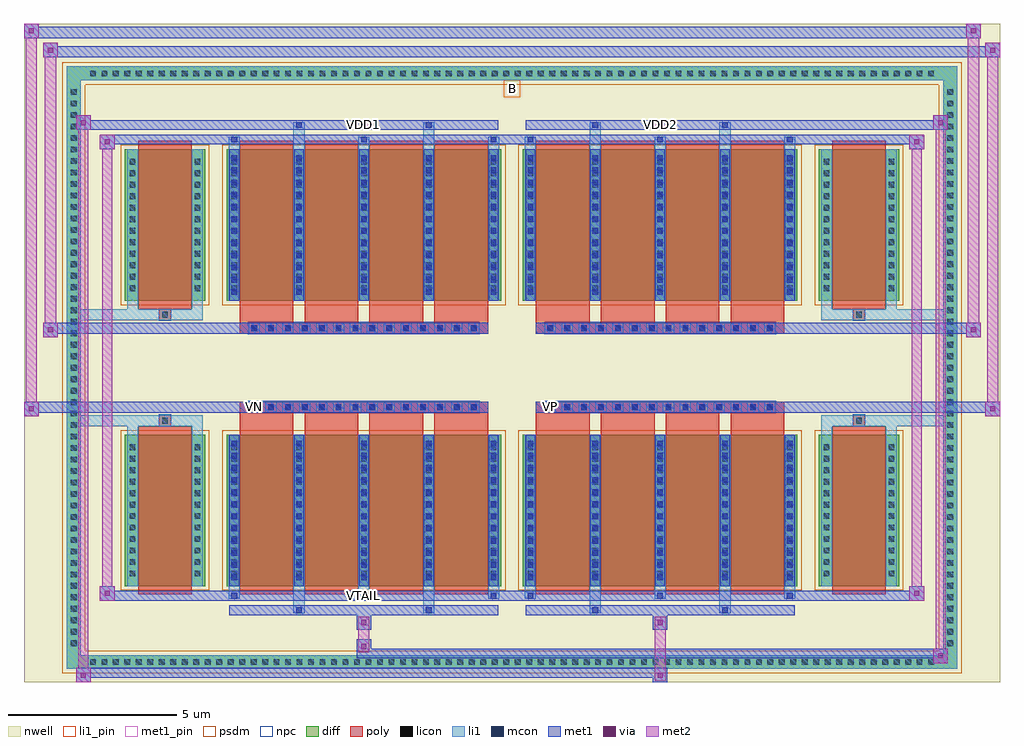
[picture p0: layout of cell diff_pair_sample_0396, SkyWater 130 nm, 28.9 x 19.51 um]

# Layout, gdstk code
import gdstk
lib = gdstk.Library(unit=1e-6, precision=5e-09)
def R(c, l, rs):  # rectangles x0, y0, x1, y1
    for r in rs: c.add(gdstk.rectangle(r[:2], r[2:], *l))
def A(c, l, x, y, w, h, nx, ny, dx, dy):  # array of equal rectangles
    R(c, l, [(x+i*dx, y+j*dy, x+i*dx+w, y+j*dy+h) for i in range(nx) for j in range(ny)])
def P(c, l, *ps):  # polygons
    for p in ps: c.add(gdstk.Polygon(p, *l))
nwell = (64, 20)
diff = (65, 20)
poly = (66, 20)
licon = (66, 44)
li1_pin = (67, 16)
li1 = (67, 20)
mcon = (67, 44)
met1_pin = (68, 16)
met1 = (68, 20)
via = (68, 44)
met2 = (69, 20)
psdm = (94, 20)
npc = (95, 20)

diff_pair_sample_0396 = lib.new_cell('diff_pair_sample_0396')
R(diff_pair_sample_0396, nwell, [(-14.45,-9.32,14.45,10.19), (-11.77,-7.51,-0.01,-0.805), (0.01,-7.51,11.77,-0.805), (-11.77,0.805,-0.01,7.51), (0.01,0.805,11.77,7.51)])
A(diff_pair_sample_0396, diff, -12.615, -8.92, 0.41, 0.41, 74, 2, 0.34, 17.43)
A(diff_pair_sample_0396, diff, -13.18, -8.365, 0.41, 0.41, 1, 49, 0, 0.34)
A(diff_pair_sample_0396, diff, 12.77, -8.365, 0.41, 0.41, 1, 49, 0, 0.34)
R(diff_pair_sample_0396, diff, [(-12.615,-8.92,12.615,-8.51), (-13.18,-8.365,-12.77,8.365), (12.77,-8.365,13.18,8.365), (-11.46,-6.465,-9.09,-1.985), (-8.45,-6.465,-0.32,-1.985), (0.32,-6.465,8.45,-1.985), (9.09,-6.465,11.46,-1.985), (-11.46,1.985,-9.09,6.465), (-8.45,1.985,-0.32,6.465), (0.32,1.985,8.45,6.465), (9.09,1.985,11.46,6.465), (-12.615,8.51,12.615,8.92)])
P(diff_pair_sample_0396, diff, [(13.18,8.92),(-13.18,8.92),(-13.18,-8.51),(-12.77,-8.51),(-12.77,8.51),(12.77,8.51),(12.77,-8.51),(-12.77,-8.51),(-13.18,-8.51),(-13.18,-8.92),(13.18,-8.92)])
A(diff_pair_sample_0396, poly, -8.06, -6.715, 1.59, 4.98, 4, 2, 1.92, 8.45)
A(diff_pair_sample_0396, poly, 0.71, -6.715, 1.59, 4.98, 4, 2, 1.92, 8.45)
A(diff_pair_sample_0396, poly, -8.06, -1.735, 1.59, 0.4, 4, 2, 1.92, 3.07)
A(diff_pair_sample_0396, poly, 0.71, -1.735, 1.59, 0.4, 4, 2, 1.92, 3.07)
A(diff_pair_sample_0396, poly, -7.8, -1.335, 0.33, 0.33, 14, 2, 0.5, 2.34)
A(diff_pair_sample_0396, poly, 0.97, -1.335, 0.33, 0.33, 14, 2, 0.5, 2.34)
R(diff_pair_sample_0396, poly, [(-11.07,-6.715,-9.48,-1.735), (9.48,-6.715,11.07,-1.735), (-10.44,-1.735,-10.11,-1.405), (-10.44,-1.735,-10.11,-1.405), (10.11,-1.735,10.44,-1.405), (10.11,-1.735,10.44,-1.405), (-8.06,-1.335,-0.71,-1.005), (0.71,-1.335,8.06,-1.005), (-8.06,1.005,-0.71,1.335), (0.71,1.005,8.06,1.335), (-10.44,1.405,-10.11,1.735), (-10.44,1.405,-10.11,1.735), (10.11,1.405,10.44,1.735), (10.11,1.405,10.44,1.735), (-11.07,1.735,-9.48,6.715), (9.48,1.735,11.07,6.715)])
A(diff_pair_sample_0396, licon, -12.495, -8.8, 0.17, 0.17, 74, 2, 0.34, 17.43)
A(diff_pair_sample_0396, licon, -13.06, -8.245, 0.17, 0.17, 1, 49, 0, 0.34)
A(diff_pair_sample_0396, licon, 12.89, -8.245, 0.17, 0.17, 1, 49, 0, 0.34)
A(diff_pair_sample_0396, licon, -11.32, -6.18, 0.17, 0.17, 1, 12, 0, 0.34)
A(diff_pair_sample_0396, licon, -9.4, -6.18, 0.17, 0.17, 1, 12, 0, 0.34)
A(diff_pair_sample_0396, licon, -8.31, -6.18, 0.17, 0.17, 5, 12, 1.92, 0.34)
A(diff_pair_sample_0396, licon, 0.46, -6.18, 0.17, 0.17, 5, 12, 1.92, 0.34)
A(diff_pair_sample_0396, licon, 9.23, -6.18, 0.17, 0.17, 1, 12, 0, 0.34)
A(diff_pair_sample_0396, licon, 11.15, -6.18, 0.17, 0.17, 1, 12, 0, 0.34)
A(diff_pair_sample_0396, licon, -7.72, -1.255, 0.17, 0.17, 14, 2, 0.5, 2.34)
A(diff_pair_sample_0396, licon, 1.05, -1.255, 0.17, 0.17, 14, 2, 0.5, 2.34)
A(diff_pair_sample_0396, licon, -11.32, 2.27, 0.17, 0.17, 1, 12, 0, 0.34)
A(diff_pair_sample_0396, licon, -9.4, 2.27, 0.17, 0.17, 1, 12, 0, 0.34)
A(diff_pair_sample_0396, licon, -8.31, 2.27, 0.17, 0.17, 5, 12, 1.92, 0.34)
A(diff_pair_sample_0396, licon, 0.46, 2.27, 0.17, 0.17, 5, 12, 1.92, 0.34)
A(diff_pair_sample_0396, licon, 9.23, 2.27, 0.17, 0.17, 1, 12, 0, 0.34)
A(diff_pair_sample_0396, licon, 11.15, 2.27, 0.17, 0.17, 1, 12, 0, 0.34)
R(diff_pair_sample_0396, licon, [(-10.36,-1.655,-10.19,-1.485), (10.19,-1.655,10.36,-1.485), (-10.36,1.485,-10.19,1.655), (10.19,1.485,10.36,1.655)])
R(diff_pair_sample_0396, li1_pin, [(-0.25,8.01,0.25,8.51)])
A(diff_pair_sample_0396, li1, -12.575, -8.88, 0.33, 0.33, 74, 2, 0.34, 17.43)
A(diff_pair_sample_0396, li1, -13.14, -8.325, 0.33, 0.33, 1, 49, 0, 0.34)
A(diff_pair_sample_0396, li1, 12.81, -8.325, 0.33, 0.33, 1, 49, 0, 0.34)
A(diff_pair_sample_0396, li1, -8.39, -6.84, 0.33, 0.375, 3, 2, 3.84, 13.305)
A(diff_pair_sample_0396, li1, -8.31, -6.84, 0.17, 0.17, 3, 2, 3.84, 13.51)
A(diff_pair_sample_0396, li1, 0.38, -6.84, 0.33, 0.375, 3, 2, 3.84, 13.305)
A(diff_pair_sample_0396, li1, 0.46, -6.84, 0.17, 0.17, 3, 2, 3.84, 13.51)
A(diff_pair_sample_0396, li1, -8.39, -6.465, 0.33, 4.48, 5, 2, 1.92, 8.45)
A(diff_pair_sample_0396, li1, 0.38, -6.465, 0.33, 4.48, 5, 2, 1.92, 8.45)
A(diff_pair_sample_0396, li1, -8.31, -6.29, 0.17, 0.17, 5, 12, 1.92, 0.36)
A(diff_pair_sample_0396, li1, -8.31, -6.29, 0.17, 4.13, 5, 2, 1.92, 8.45)
A(diff_pair_sample_0396, li1, 0.46, -6.29, 0.17, 0.17, 5, 12, 1.92, 0.36)
A(diff_pair_sample_0396, li1, 0.46, -6.29, 0.17, 4.13, 5, 2, 1.92, 8.45)
A(diff_pair_sample_0396, li1, -11.4, -6.26, 0.33, 0.33, 1, 12, 0, 0.34)
A(diff_pair_sample_0396, li1, -9.48, -6.26, 0.33, 0.33, 1, 12, 0, 0.34)
A(diff_pair_sample_0396, li1, -8.39, -6.26, 0.33, 0.33, 5, 12, 1.92, 0.34)
A(diff_pair_sample_0396, li1, 0.38, -6.26, 0.33, 0.33, 5, 12, 1.92, 0.34)
A(diff_pair_sample_0396, li1, 9.15, -6.26, 0.33, 0.33, 1, 12, 0, 0.34)
A(diff_pair_sample_0396, li1, 11.07, -6.26, 0.33, 0.33, 1, 12, 0, 0.34)
A(diff_pair_sample_0396, li1, -7.8, -1.335, 0.33, 0.33, 14, 2, 0.5, 2.34)
A(diff_pair_sample_0396, li1, 0.97, -1.335, 0.33, 0.33, 14, 2, 0.5, 2.34)
A(diff_pair_sample_0396, li1, -8.31, 2.16, 0.17, 0.17, 5, 12, 1.92, 0.36)
A(diff_pair_sample_0396, li1, 0.46, 2.16, 0.17, 0.17, 5, 12, 1.92, 0.36)
A(diff_pair_sample_0396, li1, -11.4, 2.19, 0.33, 0.33, 1, 12, 0, 0.34)
A(diff_pair_sample_0396, li1, -9.48, 2.19, 0.33, 0.33, 1, 12, 0, 0.34)
A(diff_pair_sample_0396, li1, -8.39, 2.19, 0.33, 0.33, 5, 12, 1.92, 0.34)
A(diff_pair_sample_0396, li1, 0.38, 2.19, 0.33, 0.33, 5, 12, 1.92, 0.34)
A(diff_pair_sample_0396, li1, 9.15, 2.19, 0.33, 0.33, 1, 12, 0, 0.34)
A(diff_pair_sample_0396, li1, 11.07, 2.19, 0.33, 0.33, 1, 12, 0, 0.34)
R(diff_pair_sample_0396, li1, [(-13.18,-8.92,-12.77,-8.51), (-13.18,-8.92,-12.77,-8.51), (-12.77,-8.92,12.77,-8.51), (12.77,-8.92,13.18,-8.51), (12.77,-8.92,13.18,-8.51), (-13.18,-8.51,-12.77,8.51), (12.77,-8.51,13.18,8.51), (-6.47,-7.27,-6.14,-6.465), (-6.39,-7.27,-6.22,-7.1), (-2.63,-7.27,-2.3,-6.465), (-2.55,-7.27,-2.38,-7.1), (2.3,-7.27,2.63,-6.465), (2.38,-7.27,2.55,-7.1), (6.14,-7.27,6.47,-6.465), (6.22,-7.27,6.39,-7.1), (-11.4,-6.465,-11.07,-1.985), (-9.48,-6.465,-9.15,-1.985), (9.15,-6.465,9.48,-1.985), (11.07,-6.465,11.4,-1.985), (-11.4,-1.985,-11.07,-1.405), (-9.48,-1.985,-9.15,-1.405), (9.15,-1.985,9.48,-1.405), (11.07,-1.985,11.4,-1.405), (-13.18,-1.735,-10.44,-1.405), (-11.4,-1.735,-10.44,-1.405), (-10.44,-1.735,-10.11,-1.405), (-10.11,-1.735,-9.15,-1.405), (9.15,-1.735,10.11,-1.405), (10.11,-1.735,10.44,-1.405), (10.11,-1.735,13.18,-1.405), (10.44,-1.735,11.4,-1.405), (-13.18,1.405,-10.44,1.735), (-11.4,1.405,-10.44,1.735), (-11.4,1.405,-11.07,1.985), (-10.44,1.405,-10.11,1.735), (-10.11,1.405,-9.15,1.735), (-9.48,1.405,-9.15,1.985), (9.15,1.405,10.11,1.735), (9.15,1.405,9.48,1.985), (10.11,1.405,10.44,1.735), (10.11,1.405,13.18,1.735), (10.44,1.405,11.4,1.735), (11.07,1.405,11.4,1.985), (-11.4,1.985,-11.07,6.465), (-9.48,1.985,-9.15,6.465), (9.15,1.985,9.48,6.465), (11.07,1.985,11.4,6.465), (-6.47,6.465,-6.14,7.27), (-2.63,6.465,-2.3,7.27), (2.3,6.465,2.63,7.27), (6.14,6.465,6.47,7.27), (-6.39,7.1,-6.22,7.27), (-2.55,7.1,-2.38,7.27), (2.38,7.1,2.55,7.27), (6.22,7.1,6.39,7.27), (-13.18,8.51,-12.77,8.92), (-13.18,8.51,-12.77,8.92), (-12.77,8.51,12.77,8.92), (12.77,8.51,13.18,8.92), (12.77,8.51,13.18,8.92)])
A(diff_pair_sample_0396, mcon, -8.31, -6.84, 0.17, 0.17, 3, 2, 3.84, 13.51)
A(diff_pair_sample_0396, mcon, 0.46, -6.84, 0.17, 0.17, 3, 2, 3.84, 13.51)
A(diff_pair_sample_0396, mcon, -8.31, -6.29, 0.17, 0.17, 5, 12, 1.92, 0.36)
A(diff_pair_sample_0396, mcon, 0.46, -6.29, 0.17, 0.17, 5, 12, 1.92, 0.36)
A(diff_pair_sample_0396, mcon, -7.72, -1.255, 0.17, 0.17, 14, 2, 0.5, 2.34)
A(diff_pair_sample_0396, mcon, 1.05, -1.255, 0.17, 0.17, 14, 2, 0.5, 2.34)
A(diff_pair_sample_0396, mcon, -8.31, 2.16, 0.17, 0.17, 5, 12, 1.92, 0.36)
A(diff_pair_sample_0396, mcon, 0.46, 2.16, 0.17, 0.17, 5, 12, 1.92, 0.36)
R(diff_pair_sample_0396, mcon, [(-6.39,-7.27,-6.22,-7.1), (-2.55,-7.27,-2.38,-7.1), (2.38,-7.27,2.55,-7.1), (6.22,-7.27,6.39,-7.1), (-6.39,7.1,-6.22,7.27), (-2.55,7.1,-2.38,7.27), (2.38,7.1,2.55,7.27), (6.22,7.1,6.39,7.27)])
R(diff_pair_sample_0396, met1_pin, [(-4.52,-6.88,-4.25,-6.61), (-7.77,-1.295,-7.5,-1.025), (1,-1.295,1.27,-1.025), (-4.52,7.06,-4.25,7.33), (4.25,7.06,4.52,7.33)])
A(diff_pair_sample_0396, met1, -8.37, -6.9, 0.29, 0.29, 3, 2, 3.84, 13.51)
A(diff_pair_sample_0396, met1, 0.4, -6.9, 0.29, 0.29, 3, 2, 3.84, 13.51)
A(diff_pair_sample_0396, met1, -8.37, -6.465, 0.29, 4.48, 5, 2, 1.92, 8.45)
A(diff_pair_sample_0396, met1, 0.4, -6.465, 0.29, 4.48, 5, 2, 1.92, 8.45)
A(diff_pair_sample_0396, met1, -8.37, -6.35, 0.29, 0.29, 5, 12, 1.92, 0.36)
A(diff_pair_sample_0396, met1, 0.4, -6.35, 0.29, 0.29, 5, 12, 1.92, 0.36)
A(diff_pair_sample_0396, met1, -7.78, -1.315, 0.29, 0.29, 14, 2, 0.5, 2.34)
A(diff_pair_sample_0396, met1, 0.99, -1.315, 0.29, 0.29, 14, 2, 0.5, 2.34)
A(diff_pair_sample_0396, met1, -8.37, 2.1, 0.29, 0.29, 5, 12, 1.92, 0.36)
A(diff_pair_sample_0396, met1, 0.4, 2.1, 0.29, 0.29, 5, 12, 1.92, 0.36)
R(diff_pair_sample_0396, met1, [(-12.91,-9.32,-12.48,-8.89), (4.17,-9.32,4.6,-8.89), (-12.91,-9.18,4.6,-8.89), (12.48,-8.75,12.91,-8.32), (-4.6,-8.61,12.91,-8.32), (-4.6,-8.47,-4.17,-8.04), (-4.6,-7.76,-4.17,-7.33), (4.17,-7.76,4.6,-7.33), (-8.37,-7.33,-0.4,-7.04), (-6.45,-7.33,-6.16,-7.04), (-2.61,-7.33,-2.32,-7.04), (0.4,-7.33,8.37,-7.04), (2.32,-7.33,2.61,-7.04), (6.16,-7.33,6.45,-7.04), (-12.2,-6.9,-11.77,-6.47), (-12.2,-6.9,-8.37,-6.61), (-8.37,-6.9,-0.4,-6.61), (-0.4,-6.9,0.4,-6.61), (0.4,-6.9,8.37,-6.61), (8.37,-6.9,12.2,-6.61), (11.77,-6.9,12.2,-6.47), (-14.45,-1.435,-14.02,-1.005), (14.02,-1.435,14.45,-1.005), (-14.45,-1.335,-0.71,-1.005), (-8.06,-1.335,-0.71,-1.005), (0.71,-1.335,8.06,-1.005), (0.71,-1.335,14.45,-1.005), (-13.88,0.905,-13.45,1.335), (13.45,0.905,13.88,1.335), (-13.88,1.005,-8.06,1.335), (-8.06,1.005,-0.71,1.335), (0.71,1.005,8.06,1.335), (8.06,1.005,13.88,1.335), (-12.2,6.47,-11.77,6.9), (11.77,6.47,12.2,6.9), (-12.2,6.61,-8.37,6.9), (-8.37,6.61,-0.4,6.9), (-0.4,6.61,0.4,6.9), (0.4,6.61,8.37,6.9), (8.37,6.61,12.2,6.9), (-12.91,7.04,-12.48,7.47), (-12.91,7.04,-8.37,7.33), (-8.37,7.04,-0.4,7.33), (-6.45,7.04,-6.16,7.33), (-2.61,7.04,-2.32,7.33), (0.4,7.04,8.37,7.33), (2.32,7.04,2.61,7.33), (6.16,7.04,6.45,7.33), (8.37,7.04,12.91,7.33), (12.48,7.04,12.91,7.47), (-13.88,9.19,-13.45,9.62), (-13.88,9.19,-11.77,9.52), (-11.77,9.19,11.77,9.52), (11.77,9.19,14.45,9.52), (14.02,9.19,14.45,9.62), (-14.45,9.76,-14.02,10.19), (-14.45,9.76,-11.77,10.09), (-11.77,9.76,11.77,10.09), (11.77,9.76,13.88,10.09), (13.45,9.76,13.88,10.19)])
R(diff_pair_sample_0396, via, [(-12.77,-9.18,-12.62,-9.03), (4.31,-9.18,4.46,-9.03), (12.62,-8.61,12.77,-8.46), (-4.46,-8.33,-4.31,-8.18), (-4.46,-7.62,-4.31,-7.47), (4.31,-7.62,4.46,-7.47), (-12.06,-6.76,-11.91,-6.61), (11.91,-6.76,12.06,-6.61), (-14.31,-1.295,-14.16,-1.145), (14.16,-1.295,14.31,-1.145), (-13.74,1.045,-13.59,1.195), (13.59,1.045,13.74,1.195), (-12.06,6.61,-11.91,6.76), (11.91,6.61,12.06,6.76), (-12.77,7.18,-12.62,7.33), (12.62,7.18,12.77,7.33), (-13.74,9.33,-13.59,9.48), (14.16,9.33,14.31,9.48), (-14.31,9.9,-14.16,10.05), (13.59,9.9,13.74,10.05)])
R(diff_pair_sample_0396, met2, [(-12.91,-9.32,-12.48,-8.89), (-12.84,-9.32,-12.55,7.47), (-12.55,-9.32,-12.48,-8.89), (-12.86,-9.27,-12.53,-8.94), (4.22,-9.27,4.55,-8.94), (4.22,-8.94,4.55,-7.71), (12.48,-8.75,12.91,-8.32), (12.55,-8.75,12.84,7.47), (12.84,-8.75,12.91,-8.32), (12.53,-8.7,12.86,-8.37), (-4.55,-8.42,-4.22,-8.09), (-4.55,-8.09,-4.22,-7.71), (-4.55,-7.71,-4.22,-7.38), (4.22,-7.71,4.55,-7.38), (-12.2,-6.9,-11.77,-6.47), (-12.13,-6.9,-11.84,6.9), (-11.84,-6.9,-11.77,-6.47), (11.77,-6.9,12.2,-6.47), (11.84,-6.9,12.13,6.9), (12.13,-6.9,12.2,-6.47), (-12.15,-6.85,-11.82,-6.52), (11.82,-6.85,12.15,-6.52), (-14.45,-1.435,-14.02,-1.005), (-14.4,-1.435,-14.07,10.19), (-14.07,-1.435,-14.02,-1.005), (14.02,-1.435,14.45,-1.005), (14.07,-1.435,14.4,9.62), (14.4,-1.435,14.45,-1.005), (-14.4,-1.385,-14.07,-1.055), (14.07,-1.385,14.4,-1.055), (-13.88,0.905,-13.45,1.335), (-13.83,0.905,-13.5,9.62), (-13.5,0.905,-13.45,1.335), (13.45,0.905,13.88,1.335), (13.5,0.905,13.83,10.19), (13.83,0.905,13.88,1.335), (-13.83,0.955,-13.5,1.285), (13.5,0.955,13.83,1.285), (-12.2,6.47,-11.77,6.9), (-11.84,6.47,-11.77,6.9), (11.77,6.47,12.2,6.9), (12.13,6.47,12.2,6.9), (-12.15,6.52,-11.82,6.85), (11.82,6.52,12.15,6.85), (-12.91,7.04,-12.48,7.47), (-12.55,7.04,-12.48,7.47), (12.48,7.04,12.91,7.47), (12.84,7.04,12.91,7.47), (-12.86,7.09,-12.53,7.42), (12.53,7.09,12.86,7.42), (-13.88,9.19,-13.45,9.62), (-13.5,9.19,-13.45,9.62), (14.02,9.19,14.45,9.62), (14.4,9.19,14.45,9.62), (-13.83,9.24,-13.5,9.57), (14.07,9.24,14.4,9.57), (-14.45,9.76,-14.02,10.19), (-14.07,9.76,-14.02,10.19), (13.45,9.76,13.88,10.19), (13.83,9.76,13.88,10.19), (-14.4,9.81,-14.07,10.14), (13.5,9.81,13.83,10.14)])
R(diff_pair_sample_0396, psdm, [(-11.59,-6.595,-8.96,-1.855), (-8.58,-6.595,-0.19,-1.855), (0.19,-6.595,8.58,-1.855), (8.96,-6.595,11.59,-1.855), (-11.59,1.855,-8.96,6.595), (-8.58,1.855,-0.19,6.595), (0.19,1.855,8.58,6.595), (8.96,1.855,11.59,6.595)])
P(diff_pair_sample_0396, psdm, [(13.31,9.05),(-13.31,9.05),(-13.31,-8.38),(-12.64,-8.38),(-12.64,8.38),(12.64,8.38),(12.64,-8.38),(-12.64,-8.38),(-13.31,-8.38),(-13.31,-9.05),(13.31,-9.05)])
A(diff_pair_sample_0396, npc, -7.82, -1.355, 0.37, 0.37, 14, 2, 0.5, 2.34)
A(diff_pair_sample_0396, npc, 0.95, -1.355, 0.37, 0.37, 14, 2, 0.5, 2.34)
R(diff_pair_sample_0396, npc, [(-10.46,-1.755,-10.09,-1.385), (10.09,-1.755,10.46,-1.385), (-7.82,-1.355,-6.95,-0.985), (-7.82,-1.355,-6.95,-0.985), (-7.32,-1.355,-6.45,-0.985), (-7.32,-1.355,-6.45,-0.985), (-6.82,-1.355,-5.95,-0.985), (-6.82,-1.355,-5.95,-0.985), (-6.32,-1.355,-5.45,-0.985), (-6.32,-1.355,-5.45,-0.985), (-5.82,-1.355,-4.95,-0.985), (-5.82,-1.355,-4.95,-0.985), (-5.32,-1.355,-4.45,-0.985), (-5.32,-1.355,-4.45,-0.985), (-4.82,-1.355,-3.95,-0.985), (-4.82,-1.355,-3.95,-0.985), (-4.32,-1.355,-3.45,-0.985), (-4.32,-1.355,-3.45,-0.985), (-3.82,-1.355,-2.95,-0.985), (-3.82,-1.355,-2.95,-0.985), (-3.32,-1.355,-2.45,-0.985), (-3.32,-1.355,-2.45,-0.985), (-2.82,-1.355,-1.95,-0.985), (-2.82,-1.355,-1.95,-0.985), (-2.32,-1.355,-1.45,-0.985), (-2.32,-1.355,-1.45,-0.985), (-1.82,-1.355,-0.95,-0.985), (-1.82,-1.355,-0.95,-0.985), (0.95,-1.355,1.82,-0.985), (0.95,-1.355,1.82,-0.985), (1.45,-1.355,2.32,-0.985), (1.45,-1.355,2.32,-0.985), (1.95,-1.355,2.82,-0.985), (1.95,-1.355,2.82,-0.985), (2.45,-1.355,3.32,-0.985), (2.45,-1.355,3.32,-0.985), (2.95,-1.355,3.82,-0.985), (2.95,-1.355,3.82,-0.985), (3.45,-1.355,4.32,-0.985), (3.45,-1.355,4.32,-0.985), (3.95,-1.355,4.82,-0.985), (3.95,-1.355,4.82,-0.985), (4.45,-1.355,5.32,-0.985), (4.45,-1.355,5.32,-0.985), (4.95,-1.355,5.82,-0.985), (4.95,-1.355,5.82,-0.985), (5.45,-1.355,6.32,-0.985), (5.45,-1.355,6.32,-0.985), (5.95,-1.355,6.82,-0.985), (5.95,-1.355,6.82,-0.985), (6.45,-1.355,7.32,-0.985), (6.45,-1.355,7.32,-0.985), (6.95,-1.355,7.82,-0.985), (6.95,-1.355,7.82,-0.985), (-7.82,0.985,-6.95,1.355), (-7.82,0.985,-6.95,1.355), (-7.32,0.985,-6.45,1.355), (-7.32,0.985,-6.45,1.355), (-6.82,0.985,-5.95,1.355), (-6.82,0.985,-5.95,1.355), (-6.32,0.985,-5.45,1.355), (-6.32,0.985,-5.45,1.355), (-5.82,0.985,-4.95,1.355), (-5.82,0.985,-4.95,1.355), (-5.32,0.985,-4.45,1.355), (-5.32,0.985,-4.45,1.355), (-4.82,0.985,-3.95,1.355), (-4.82,0.985,-3.95,1.355), (-4.32,0.985,-3.45,1.355), (-4.32,0.985,-3.45,1.355), (-3.82,0.985,-2.95,1.355), (-3.82,0.985,-2.95,1.355), (-3.32,0.985,-2.45,1.355), (-3.32,0.985,-2.45,1.355), (-2.82,0.985,-1.95,1.355), (-2.82,0.985,-1.95,1.355), (-2.32,0.985,-1.45,1.355), (-2.32,0.985,-1.45,1.355), (-1.82,0.985,-0.95,1.355), (-1.82,0.985,-0.95,1.355), (0.95,0.985,1.82,1.355), (0.95,0.985,1.82,1.355), (1.45,0.985,2.32,1.355), (1.45,0.985,2.32,1.355), (1.95,0.985,2.82,1.355), (1.95,0.985,2.82,1.355), (2.45,0.985,3.32,1.355), (2.45,0.985,3.32,1.355), (2.95,0.985,3.82,1.355), (2.95,0.985,3.82,1.355), (3.45,0.985,4.32,1.355), (3.45,0.985,4.32,1.355), (3.95,0.985,4.82,1.355), (3.95,0.985,4.82,1.355), (4.45,0.985,5.32,1.355), (4.45,0.985,5.32,1.355), (4.95,0.985,5.82,1.355), (4.95,0.985,5.82,1.355), (5.45,0.985,6.32,1.355), (5.45,0.985,6.32,1.355), (5.95,0.985,6.82,1.355), (5.95,0.985,6.82,1.355), (6.45,0.985,7.32,1.355), (6.45,0.985,7.32,1.355), (6.95,0.985,7.82,1.355), (6.95,0.985,7.82,1.355), (-10.46,1.385,-10.09,1.755), (10.09,1.385,10.46,1.755)])
diff_pair_sample_0396.add(gdstk.Label('VTAIL', (-4.385,-6.745), layer=68, texttype=5))
diff_pair_sample_0396.add(gdstk.Label('VN', (-7.635,-1.16), layer=68, texttype=5))
diff_pair_sample_0396.add(gdstk.Label('VP', (1.135,-1.16), layer=68, texttype=5))
diff_pair_sample_0396.add(gdstk.Label('B', (0,8.26), layer=67, texttype=5))
diff_pair_sample_0396.add(gdstk.Label('VDD2', (4.385,7.195), layer=68, texttype=5))
diff_pair_sample_0396.add(gdstk.Label('VDD1', (-4.385,7.195), layer=68, texttype=5))

lib.write_gds('diff_pair_sample_0396.gds')
